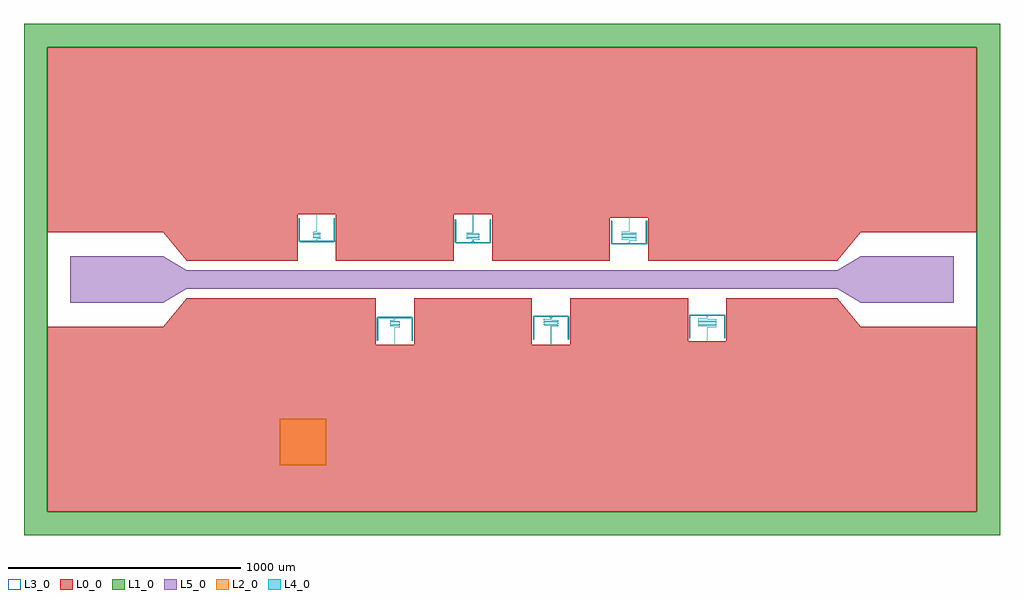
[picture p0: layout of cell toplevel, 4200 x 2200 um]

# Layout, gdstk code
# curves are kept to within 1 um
import gdstk
lib = gdstk.Library(unit=1e-6, precision=1e-09)
def R(c, l, rs):  # rectangles x0, y0, x1, y1
    for r in rs: c.add(gdstk.rectangle(r[:2], r[2:], *l))
def P(c, l, *ps):  # polygons
    for p in ps: c.add(gdstk.Polygon(p, *l))
L0_0 = (0, 0)
L1_0 = (1, 0)
L2_0 = (2, 0)
L3_0 = (3, 0)
L4_0 = (4, 0)
L5_0 = (5, 0)

toplevel = lib.new_cell('toplevel')
P(toplevel, L0_0, [(-757.5,281),(-757.5,81),(-250.5,81),(-250.5,281),(-85.5,281),(-85.5,81),(421.5,81),(421.5,266),(586.5,266),(586.5,81),(1400,81),(1500,202.5),(2000,202.5),(2000,1000),(-2000,1000),(-2000,202.5),(-1500,202.5),(-1400,81),(-922.5,81),(-922.5,281)],
  [(1400,-81),(922.5,-81),(922.5,-266),(757.5,-266),(757.5,-81),(250.5,-81),(250.5,-281),(85.5,-281),(85.5,-81),(-421.5,-81),(-421.5,-281),(-586.5,-281),(-586.5,-81),(-1400,-81),(-1500,-202.5),(-2000,-202.5),(-2000,-1000),(2000,-1000),(2000,-202.5),(1500,-202.5)])
P(toplevel, L1_0, [(2100,1100),(-2100,1100),(-2100,-1000),(-2000,-1000),(-2000,1000),(2000,1000),(2000,-1000),(-2000,-1000),(-2100,-1000),(-2100,-1100),(2100,-1100)])
R(toplevel, L2_0, [(-1000,-800,-800,-600)])
R(toplevel, L3_0, [(-2000,-1000,2000,1000)])
P(toplevel, L4_0, [(-839.7,174.914),(-839.086,175.697),(-825.724,175.716),(-824.924,176.142),(-824.7,177.095),(-824.743,180.435),(-825.629,181.27),(-854.02,181.301),(-854.687,181.786),(-854.687,185.21),(-854.275,185.678),(-825.963,185.701),(-825.124,185.937),(-824.728,186.642),(-824.738,190.416),(-825.623,191.269),(-854.005,191.301),(-854.68,191.741),(-854.689,195.193),(-854.255,195.681),(-825.923,195.702),(-825.105,195.952),(-824.728,196.642),(-824.736,200.403),(-825.636,201.271),(-854.005,201.301),(-854.678,201.729),(-854.375,205.653),(-840.828,205.707),(-839.733,206.61),(-839.7,281),(-840.3,281),(-840.323,206.721),(-840.933,206.302),(-854.579,206.217),(-855.276,205.332),(-855.269,201.623),(-854.077,200.702),(-825.745,200.681),(-825.311,200.193),(-825.32,196.741),(-825.99,196.301),(-854.364,196.271),(-855.264,195.403),(-855.272,191.642),(-854.882,190.942),(-854.042,190.701),(-825.765,190.684),(-825.312,190.206),(-825.314,186.777),(-825.99,186.301),(-854.416,186.262),(-855.269,185.377),(-855.282,181.706),(-854.936,180.986),(-854.06,180.702),(-825.745,180.681),(-825.316,180.235),(-825.312,176.794),(-825.919,176.303),(-839.652,176.19),(-840.28,175.307),(-840.3,171),(-850,166),(-912.259,166.263),(-912.502,261.109),(-912.952,262.434),(-914.043,263.31),(-915.326,263.479),(-916.607,262.915),(-917.5,261),(-917.475,166.954),(-916.915,164.4),(-915.563,162.507),(-913.447,161.346),(-910.644,161),(-769.356,161),(-766.888,161.253),(-764.934,162.118),(-763.131,164.296),(-762.504,167.513),(-762.5,261),(-763.085,262.607),(-764.353,263.415),(-765.752,263.384),(-766.983,262.522),(-767.498,261.109),(-767.751,166.251),(-830,166),(-839.7,171)],
  [(-504.301,-175.044),(-504.923,-175.697),(-523.52,-175.764),(-524.143,-176.25),(-524.3,-177.122),(-524.27,-180.37),(-523.54,-181.23),(-485.015,-181.3),(-484.448,-181.448),(-484.3,-182.06),(-484.312,-185.206),(-484.79,-185.687),(-523.048,-185.701),(-523.87,-185.933),(-524.263,-186.591),(-524.261,-190.416),(-523.294,-191.281),(-485.015,-191.3),(-484.327,-191.702),(-484.312,-195.206),(-484.79,-195.687),(-523.042,-195.701),(-523.852,-195.92),(-524.256,-196.558),(-524.261,-200.416),(-523.294,-201.281),(-485.02,-201.3),(-484.331,-201.683),(-484.308,-205.163),(-484.675,-205.667),(-503.112,-205.703),(-504.248,-206.526),(-504.3,-281),(-503.7,-281),(-503.666,-206.671),(-503.029,-206.301),(-484.519,-206.246),(-483.728,-205.358),(-483.747,-201.545),(-484.957,-200.701),(-523.21,-200.687),(-523.688,-200.202),(-523.671,-196.69),(-522.985,-196.3),(-484.706,-196.281),(-483.738,-195.416),(-483.74,-191.578),(-484.136,-190.928),(-484.957,-190.701),(-523.21,-190.687),(-523.688,-190.206),(-523.675,-186.709),(-522.985,-186.3),(-484.706,-186.281),(-483.738,-185.416),(-483.735,-181.604),(-484.13,-180.933),(-484.952,-180.701),(-523.197,-180.689),(-523.684,-180.235),(-523.689,-176.803),(-523.091,-176.303),(-504.388,-176.205),(-503.723,-175.326),(-503.7,-171),(-494,-166),(-431.741,-166.263),(-431.498,-261.109),(-431.048,-262.434),(-429.957,-263.31),(-428.674,-263.479),(-427.393,-262.915),(-426.5,-261),(-426.525,-166.954),(-427.1,-164.365),(-428.437,-162.507),(-430.552,-161.346),(-433.356,-161),(-574.644,-161),(-577.112,-161.253),(-579.066,-162.118),(-580.853,-164.261),(-581.496,-167.513),(-581.5,-261),(-580.915,-262.607),(-579.647,-263.415),(-578.248,-263.384),(-577.017,-262.522),(-576.502,-261.109),(-576.254,-166.257),(-514,-166),(-504.3,-171)],
  [(-167.7,169.92),(-167.561,170.542),(-167.048,170.698),(-142.774,170.711),(-141.928,171.136),(-141.7,172.122),(-141.755,175.487),(-142.78,176.289),(-192.97,176.3),(-193.668,176.679),(-193.687,180.214),(-193.176,180.691),(-142.98,180.701),(-142.167,180.907),(-141.752,181.526),(-141.74,185.422),(-142.762,186.288),(-192.965,186.3),(-193.664,186.664),(-193.687,190.21),(-193.176,190.691),(-142.986,190.701),(-142.18,190.898),(-141.76,191.493),(-141.738,195.416),(-142.755,196.287),(-192.965,196.3),(-193.659,196.646),(-193.691,200.176),(-193.279,200.677),(-168.929,200.702),(-167.77,201.46),(-167.7,281),(-168.3,281),(-168.344,201.636),(-168.995,201.301),(-193.409,201.263),(-194.27,200.37),(-194.236,196.48),(-193.814,195.894),(-193.014,195.701),(-142.824,195.691),(-142.313,195.21),(-142.339,191.653),(-143.035,191.3),(-193.238,191.288),(-194.26,190.422),(-194.245,186.513),(-193.833,185.907),(-193.02,185.701),(-142.824,185.691),(-142.313,185.21),(-142.334,181.672),(-143.03,181.3),(-193.238,181.288),(-194.259,180.428),(-194.251,176.539),(-193.839,175.911),(-193.02,175.701),(-142.837,175.692),(-142.304,175.118),(-142.304,171.886),(-142.612,171.352),(-167.54,171.23),(-168.285,170.269),(-168.3,166),(-178,161),(-240.249,161.251),(-240.502,256.109),(-240.952,257.434),(-242.043,258.31),(-243.326,258.479),(-244.607,257.915),(-245.5,256),(-245.475,161.954),(-244.915,159.4),(-243.563,157.507),(-241.447,156.346),(-238.644,156),(-97.356,156),(-94.888,156.253),(-92.934,157.118),(-91.1,159.365),(-90.503,162.563),(-90.5,256),(-91.085,257.607),(-92.353,258.415),(-93.752,258.384),(-94.983,257.522),(-95.498,256.109),(-95.751,161.251),(-158,161),(-167.7,166)],
  [(167.698,-170.058),(167.555,-170.548),(167.039,-170.699),(138.584,-170.738),(137.933,-171.13),(137.702,-171.929),(137.733,-175.39),(138.519,-176.246),(196.96,-176.3),(197.555,-176.452),(197.7,-177.035),(197.678,-180.275),(197.154,-180.693),(138.997,-180.7),(138.186,-180.894),(137.764,-181.48),(137.74,-185.422),(138.786,-186.29),(196.96,-186.3),(197.657,-186.639),(197.687,-190.214),(197.154,-190.693),(138.997,-190.7),(138.199,-190.887),(137.774,-191.447),(137.74,-195.422),(138.786,-196.29),(196.955,-196.3),(197.651,-196.618),(197.691,-200.18),(197.255,-200.681),(168.946,-200.702),(167.787,-201.407),(167.7,-281),(168.3,-281),(168.353,-201.608),(169.01,-201.3),(197.37,-201.27),(198.27,-200.37),(198.219,-196.427),(196.997,-195.7),(138.846,-195.693),(138.313,-195.214),(138.346,-191.629),(139.045,-191.3),(197.214,-191.29),(198.26,-190.422),(198.232,-186.467),(197.808,-185.89),(197.003,-185.7),(138.846,-185.693),(138.313,-185.214),(138.341,-181.646),(139.04,-181.3),(197.214,-181.29),(198.259,-180.428),(198.24,-176.493),(197.814,-175.894),(197.003,-175.7),(138.859,-175.694),(138.305,-175.123),(138.304,-171.882),(138.618,-171.349),(167.5,-171.241),(168.272,-170.358),(168.3,-166),(178,-161),(240.243,-161.246),(240.5,-162.9),(240.502,-256.109),(240.952,-257.434),(242.043,-258.31),(243.326,-258.479),(244.607,-257.915),(245.5,-256),(245.475,-161.954),(244.915,-159.4),(243.563,-157.507),(241.447,-156.346),(238.644,-156),(97.356,-156),(94.888,-156.253),(92.934,-157.118),(91.1,-159.365),(90.503,-162.563),(90.5,-256),(91.085,-257.607),(92.353,-258.415),(93.752,-258.384),(94.983,-257.522),(95.498,-256.109),(95.751,-161.251),(158,-161),(167.7,-166)],
  [(504.3,164.925),(504.433,165.536),(504.98,165.699),(534.22,165.71),(535.067,166.13),(535.3,167.101),(535.25,170.468),(534.87,171.067),(534.172,171.293),(474.112,171.3),(473.354,171.605),(473.311,175.197),(473.873,175.695),(534.077,175.702),(535.21,176.401),(535.261,180.416),(534.9,181.044),(534.19,181.292),(474.112,181.3),(473.356,181.598),(473.318,185.251),(473.855,185.694),(533.883,185.7),(534.737,185.85),(535.203,186.381),(535.267,190.39),(534.942,191.008),(534.183,191.292),(474.05,191.3),(473.36,191.589),(473.313,195.21),(473.85,195.693),(533.992,195.7),(535.19,196.348),(535.264,200.403),(534.918,201.029),(534.214,201.29),(474.05,201.3),(473.368,201.57),(473.309,205.176),(473.753,205.682),(503.037,205.701),(504.166,206.296),(504.3,266),(503.7,266),(503.625,206.555),(502.98,206.3),(473.636,206.271),(472.728,205.358),(472.822,201.322),(474.014,200.7),(534.15,200.693),(534.688,200.206),(534.636,196.579),(533.95,196.3),(473.786,196.29),(473.082,196.029),(472.737,195.409),(472.802,191.368),(473.237,190.864),(474.008,190.7),(534.136,190.694),(534.69,190.189),(534.635,186.576),(534.015,186.301),(473.81,186.292),(473.082,186.029),(472.736,185.403),(472.792,181.394),(473.923,180.702),(534.145,180.694),(534.691,180.176),(534.644,176.598),(533.888,176.3),(473.78,176.289),(473.087,176.034),(472.735,175.396),(472.768,171.467),(473.186,170.894),(473.923,170.702),(534.176,170.691),(534.685,170.227),(534.692,166.828),(534.015,166.301),(504.519,166.246),(503.722,165.32),(503.7,161),(494,156),(433.38,156),(431.741,156.263),(431.5,157.88),(431.498,251.109),(431.048,252.434),(429.957,253.31),(428.674,253.479),(427.393,252.915),(426.734,252.056),(426.5,251),(426.525,156.954),(427.1,154.365),(428.437,152.507),(430.552,151.346),(433.356,151),(574.644,151),(577.112,151.253),(579.066,152.118),(580.853,154.261),(581.496,157.513),(581.5,251),(580.915,252.607),(579.647,253.415),(578.248,253.384),(577.017,252.522),(576.502,251.109),(576.5,157.88),(576.254,156.257),(574.62,156),(514,156),(504.3,161)],
  [(839.697,-165.077),(839.557,-165.546),(839.081,-165.697),(801.623,-165.731),(800.915,-166.155),(800.7,-167.058),(800.733,-170.39),(801.035,-170.987),(801.61,-171.267),(877.99,-171.3),(878.568,-171.466),(878.7,-172.122),(878.68,-175.259),(878.109,-175.696),(802.019,-175.7),(801.25,-175.857),(800.81,-176.348),(800.738,-180.416),(801.1,-181.044),(801.828,-181.293),(877.94,-181.3),(878.633,-181.573),(878.687,-185.214),(878.123,-185.695),(802.025,-185.7),(801.27,-185.847),(800.828,-186.309),(800.737,-190.409),(801.093,-191.039),(801.828,-191.293),(877.94,-191.3),(878.624,-191.552),(878.687,-195.21),(878.123,-195.695),(802.03,-195.7),(800.85,-196.263),(800.745,-200.448),(801.087,-201.034),(801.822,-201.293),(877.935,-201.3),(878.612,-201.529),(878.691,-205.18),(878.21,-205.687),(840.997,-205.7),(839.883,-206.205),(839.7,-266),(840.3,-266),(840.394,-206.518),(841.04,-206.3),(878.307,-206.28),(878.959,-205.992),(879.272,-205.358),(879.136,-201.237),(877.97,-200.7),(801.877,-200.695),(801.313,-200.21),(801.382,-196.54),(802.065,-196.3),(878.171,-196.293),(878.906,-196.039),(879.264,-195.403),(879.163,-191.289),(877.975,-190.7),(801.877,-190.695),(801.313,-190.21),(801.372,-186.561),(802.06,-186.3),(878.171,-186.293),(878.9,-186.044),(879.261,-185.416),(879.184,-181.335),(878.737,-180.85),(877.975,-180.7),(801.877,-180.695),(801.313,-180.214),(801.364,-176.579),(802.06,-176.3),(878.147,-176.295),(878.93,-176.019),(879.264,-175.403),(879.2,-171.375),(878.782,-170.875),(878.031,-170.701),(801.833,-170.692),(801.315,-170.227),(801.306,-166.855),(801.452,-166.444),(801.923,-166.302),(839.416,-166.262),(840.014,-165.936),(840.274,-165.345),(840.3,-161),(850,-156),(910.62,-156),(912.259,-156.263),(912.5,-157.9),(912.502,-251.109),(912.952,-252.434),(914.043,-253.31),(915.326,-253.479),(916.607,-252.915),(917.266,-252.056),(917.5,-251),(917.475,-156.954),(916.915,-154.4),(915.563,-152.507),(913.447,-151.346),(910.644,-151),(769.356,-151),(766.888,-151.253),(764.934,-152.118),(763.131,-154.296),(762.504,-157.513),(762.5,-251),(763.085,-252.607),(764.353,-253.415),(765.752,-253.384),(766.983,-252.522),(767.498,-251.109),(767.5,-157.88),(767.751,-156.251),(769.38,-156),(830,-156),(839.7,-161)])
P(toplevel, L5_0, [(-1400,40),(-1500,100),(-1900,100),(-1900,-100),(-1500,-100),(-1400,-40),(1400,-40),(1500,-100),(1900,-100),(1900,100),(1500,100),(1400,40)])

lib.write_gds('toplevel.gds')
